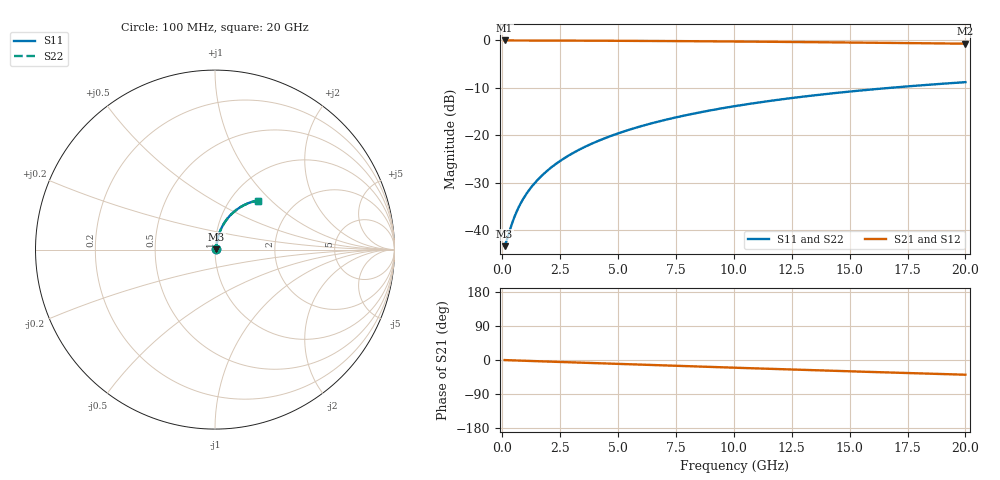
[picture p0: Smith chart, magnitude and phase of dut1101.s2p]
! Touchstone file exported from HFSS 2026.1.0
!  File:  C:/ffzhzh/LocalFiles/Ansys_Project_Files/temp_train_TMRDL_1101_1783161254_22436.aedt
!  Generated:  06:35:29 PM Jul  4, 2026
!  Design:  TMRDL
!  Project:  temp_train_TMRDL_1101_1783161254_22436
! Variables:
!  h_bsmrdl = 2um
!  h_ox = 20um
!  h_rdl = 5um
!  h_sub = 80um
!  h_tmrdl = 2.06um
!  h_tsv = 80um
!  h_via = 3um
!  l_bsmrdl = 300um
!  l_sub = 966.38um
!  l_tmrdl = 566.38um
!  m_sub = 200um
!  pitch = 34.07um
!  r_tsv = 6um
!  s_tmrdl = 10um
!  w_bsmrdl = 18um
!  w_sub = 500um
!  w_tmrdl = 15.75um
!  x_tsv_center1 = 574.255um
!  x_tsv_center2 = 892.255um
!  x_tsv_center3 = 1474.385um
!  x_tsv_center4 = 1792.385um
!  x_tsv_center5 = 2374.515um
!  x_tsv_center6 = 2692.515um
# GHz S MA R 50.000000
! Terminal data exported
! Port[1] = TM_RDL1_1_T1
! Port[2] = TM_RDL1_1_T2
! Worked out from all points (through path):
!   200 points, 100 MHz to 20 GHz, reference 50 ohm
!   highest |S21| = -0.06 dB at 100 MHz (marker M1); lowest = -0.7 dB at 20 GHz (marker M2)
!   group delay of S21, straight-line fit = 5.4 ps
!   lowest |S11| = -43.4 dB at 100 MHz (marker M3), VSWR 1.01, Z = 50.6 + j0.235 ohm
!   |S11| at or under -10 dB: start of sweep to 16.81 GHz
!   |S22| runs from -43.4 to -8.8 dB; largest |S21 - S12| = 2.7e-15
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0.1  0.006797 19.9  0.9936 -0.2  0.9936 -0.2  0.006797 19.9
! Gamma 0 0 0 0
! Port Impedance 50 0 50 0
0.2  0.007967 35.4  0.9935 -0.4  0.9935 -0.4  0.007967 35.4
0.4  0.0114 53.0  0.9932 -0.9  0.9932 -0.9  0.0114 53.0
0.5  0.01333 57.9  0.9931 -1.1  0.9931 -1.1  0.01333 57.9
0.7  0.01731 64.0  0.9927 -1.5  0.9927 -1.5  0.01731 64.0
0.8  0.01931 66.0  0.9925 -1.7  0.9925 -1.7  0.01931 66.0
1  0.02332 68.9  0.9922 -2.1  0.9922 -2.1  0.02332 68.9
1.3  0.02934 71.7  0.9918 -2.7  0.9918 -2.7  0.02934 71.7
1.7  0.0374 73.9  0.9912 -3.6  0.9912 -3.6  0.0374 73.9
2.2  0.04754 75.4  0.9906 -4.6  0.9906 -4.6  0.04754 75.4
2.8  0.05977 76.0  0.9898 -5.8  0.9898 -5.8  0.05977 76.0
3.5  0.07405 76.1  0.9887 -7.2  0.9887 -7.2  0.07405 76.0
4.2  0.0883 75.6  0.9873 -8.7  0.9873 -8.7  0.0883 75.6
5  0.1045 74.8  0.9856 -10.3  0.9856 -10.3  0.1045 74.8
5.9  0.1226 73.6  0.9833 -12.1  0.9833 -12.1  0.1226 73.6
6.8  0.1404 72.2  0.9806 -13.9  0.9806 -13.9  0.1404 72.2
8.3  0.1695 69.7  0.9756 -16.9  0.9756 -16.9  0.1695 69.7
10.1  0.2033 66.6  0.9686 -20.5  0.9686 -20.5  0.2033 66.5
11.7  0.2322 63.7  0.9616 -23.6  0.9616 -23.6  0.2322 63.7
13.4  0.2616 60.7  0.9536 -26.8  0.9536 -26.8  0.2616 60.6
16.7  0.3145 54.8  0.9366 -33.0  0.9366 -33.0  0.3145 54.7
20  0.3617 49.1  0.9188 -38.8  0.9188 -38.8  0.3617 49.0
